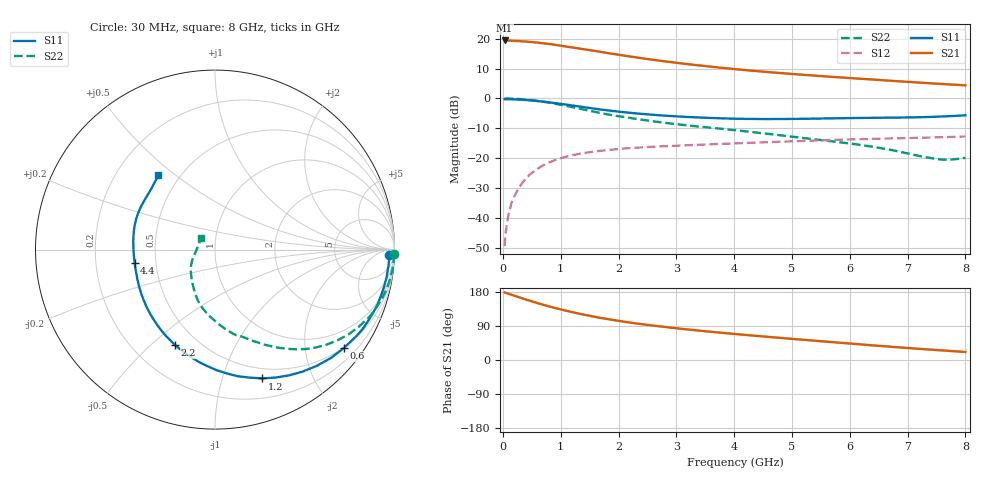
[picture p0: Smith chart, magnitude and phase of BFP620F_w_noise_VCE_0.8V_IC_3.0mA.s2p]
! Infineon Technologies  Discrete & RF Semiconductors
! BFP620F
! VCE =  0.8 V,  IC =  3.0 mA
! Common Emitter S-Parameters:  Dec 2014
# GHz  S  MA  R  50
!  f  S11  S21  S12  S22
! GHz  MAG  ANG  MAG  ANG  MAG  ANG  MAG  ANG
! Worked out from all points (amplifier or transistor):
!   95 points, 30 MHz to 8 GHz, reference 50 ohm
!   highest |S21| = 19.4 dB at 30 MHz (marker M1)
!   |S21| within 3 dB of that: start of sweep to 1.421 GHz
!   unconditionally stable (mu >= 1): 6.085 GHz to end of sweep
!   at 300 MHz: K = 0.03, MSG = 24.2 dB, |S12| = -29.2 dB
!   at 3.3 GHz: K = 0.69, MSG = 13.4 dB, |S12| = -15.5 dB
!   at 8 GHz: K = 1.16, MAG = 6.2 dB, |S12| = -12.7 dB
!   lowest NFmin = 0.51 dB at 450 MHz
!   S11 on the Smith chart (normalised r, x): 30 MHz: 30, -35; 600 MHz: 0.48, -2.90; 1.2 GHz: 0.39, -1.35; 2.2 GHz: 0.38, -0.60; 4.4 GHz: 0.38, -0.07; 8 GHz: 0.38, +0.44
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0.03  0.9719 -1.9  9.319 178.2  0.0034 90.8  0.9981 -1.5
0.04  0.972 -2.5  9.215 177.6  0.0048 90.0  0.9985 -2.0
0.07  0.9707 -4.4  9.292 176.3  0.0086 85.5  0.9971 -3.3
0.15  0.968 -9.5  9.218 172.3  0.018 86.4  0.9932 -7.2
0.25  0.9596 -15.8  9.14 167.1  0.0289 81.5  0.9833 -12.1
0.4  0.9408 -25.1  8.957 159.6  0.0458 76.0  0.9574 -19.1
0.6  0.9041 -37.2  8.581 150.1  0.0669 68.9  0.9093 -28.2
0.8  0.8604 -48.9  8.145 141.4  0.0853 62.1  0.8499 -36.4
0.9  0.8365 -54.4  7.892 137.4  0.0931 58.9  0.816 -40.5
1.2  0.7636 -70.0  7.116 126.3  0.1125 50.9  0.7169 -50.8
1.4  0.717 -79.8  6.645 119.7  0.1225 46.5  0.6534 -56.9
1.7  0.6516 -93.5  5.989 110.8  0.1337 41.2  0.569 -65.3
1.9  0.6181 -101.5  5.569 105.8  0.1399 38.3  0.5236 -70.6
2.2  0.5762 -112.9  5.026 98.8  0.1481 34.4  0.4732 -78.7
2.7  0.5242 -129.1  4.297 89.0  0.1577 29.7  0.4033 -89.0
3.4  0.4806 -148.1  3.562 77.4  0.1683 25.3  0.3379 -101.2
4.1  0.4578 -164.1  3.038 67.5  0.1786 22.0  0.2891 -110.4
4.4  0.4538 -170.4  2.862 63.5  0.183 20.7  0.2685 -114.3
5.4  0.4605 170.5  2.408 50.8  0.198 16.6  0.2071 -129.2
6.7  0.4777 148.0  1.979 35.1  0.2146 10.8  0.1385 -155.6
7.6  0.5003 132.9  1.744 25.3  0.2255 7.5  0.095 166.9
8  0.5231 127.0  1.657 21.1  0.2315 5.8  0.1019 140.3
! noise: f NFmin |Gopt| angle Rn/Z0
0.45  0.51  0.54  10  0.3
0.9  0.6  0.52  20  0.26
1.5  0.69  0.47  29  0.25
1.8  0.73  0.45  32  0.25
1.9  0.74  0.4  43  0.26
2.4  0.81  0.37  57  0.24
3.5  0.96  0.35  80  0.18
5.5  1.2  0.23  149  0.15
6  1.26  0.19  163  0.29
